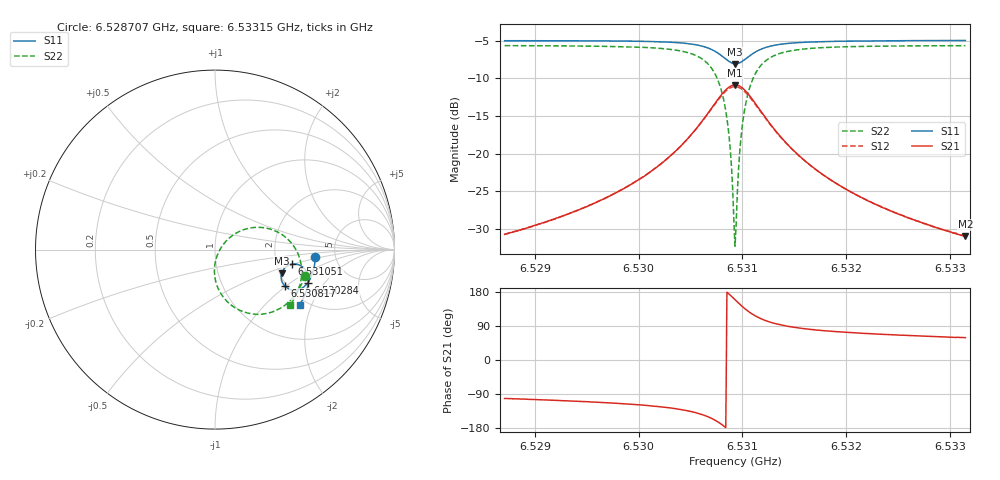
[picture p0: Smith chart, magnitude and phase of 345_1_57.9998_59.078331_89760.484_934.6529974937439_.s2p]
#  HZ  S  RI  R  50.00
! Rohde & Schwarz Vector Network Analyzer
! Rohde-Schwarz,ZNB20-2Port,1311601062101988,3.16
! Created: UTC 3/21/2024, 1:05:46 AM
! freq[Hz]  re:S11  im:S11  re:S21  im:S21  re:S12  im:S12  re:S22  im:S22
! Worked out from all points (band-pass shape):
!   401 points, 6.528707 GHz to 6.53315 GHz, reference 50 ohm
!   highest |S21| = -10.88 dB at 6.530928 GHz (marker M1); lowest = -31.0 dB at 6.53315 GHz (marker M2)
!   |S21| within 3 dB of the highest: 6.530707 GHz to 6.531152 GHz (444.9 kHz wide, 0.00681 % of centre)
!   lowest |S11| = -8.1 dB at 6.530928 GHz (marker M3), VSWR 2.30, Z = 102 - j32.1 ohm
!   |S11| at or under -10 dB: nowhere
!   |S22| runs from -32.3 to -5.7 dB; largest |S21 - S12| = 0.011
!   S11 on the Smith chart (normalised r, x): 6.528707 GHz: 3.50, -0.42; 6.530284 GHz: 2.62, -1.38; 6.530817 GHz: 1.95, -0.97; 6.531051 GHz: 2.43, -0.49; 6.53315 GHz: 1.82, -1.65
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6.5287066e9  0.5598 -0.0413  -0.00585 -0.0285  -0.00629 -0.0284  0.5003 -0.1446
6.5294509e9  0.5512 -0.1023  -0.0143 -0.0407  -0.0153 -0.0405  0.4721 -0.212
6.5301952e9  0.5246 -0.1738  -0.0455 -0.0699  -0.0474 -0.0689  0.3963 -0.305
6.5302841e9  0.5178 -0.184  -0.0547 -0.0761  -0.0569 -0.0746  0.3763 -0.3193
6.5304951e9  0.4922 -0.21  -0.0931 -0.0918  -0.0957 -0.0888  0.3 -0.353
6.5306506e9  0.4547 -0.2249  -0.1513 -0.0949  -0.1536 -0.0891  0.1924 -0.3557
6.5307506e9  0.4162 -0.2208  -0.211 -0.0719  -0.2107 -0.0635  0.0902 -0.3092
6.5308173e9  0.3877 -0.2014  -0.2535 -0.0284  -0.2496 -0.0192  0.0237 -0.2292
6.5308728e9  0.3708 -0.1708  -0.275 0.0311  -0.2677 0.0384  -0.00312 -0.1269
6.5309061e9  0.3687 -0.148  -0.2745 0.0733  -0.2656 0.0786  0.00441 -0.0574
6.5309173e9  0.3697 -0.1403  -0.2716 0.0873  -0.2623 0.0918  0.0115 -0.0345
6.5309284e9  0.3713 -0.1326  -0.2671 0.1013  -0.2576 0.1049  0.021 -0.0122
6.5309395e9  0.374 -0.1251  -0.2614 0.1146  -0.2518 0.1175  0.0326 0.00886
6.5309506e9  0.3773 -0.1181  -0.2544 0.1274  -0.2449 0.1293  0.0461 0.0286
6.5309728e9  0.3861 -0.1053  -0.2371 0.1503  -0.2279 0.1504  0.0782 0.0632
6.530995e9  0.397 -0.095  -0.2164 0.1685  -0.2082 0.1675  0.115 0.0902
6.5310506e9  0.4281 -0.0814  -0.1601 0.1936  -0.1544 0.191  0.2124 0.1227
6.5311283e9  0.4665 -0.0846  -0.0926 0.1921  -0.0898 0.1895  0.3258 0.108
6.5312394e9  0.4986 -0.1069  -0.0358 0.163  -0.0344 0.1615  0.4185 0.0449
6.5316726e9  0.52 -0.1826  0.0138 0.0806  0.0147 0.0804  0.4829 -0.1305
6.5324169e9  0.4997 -0.2554  0.0164 0.0385  0.017 0.0385  0.4554 -0.2458
6.5331501e9  0.4714 -0.309  0.0145 0.0242  0.0151 0.024  0.4197 -0.3079
